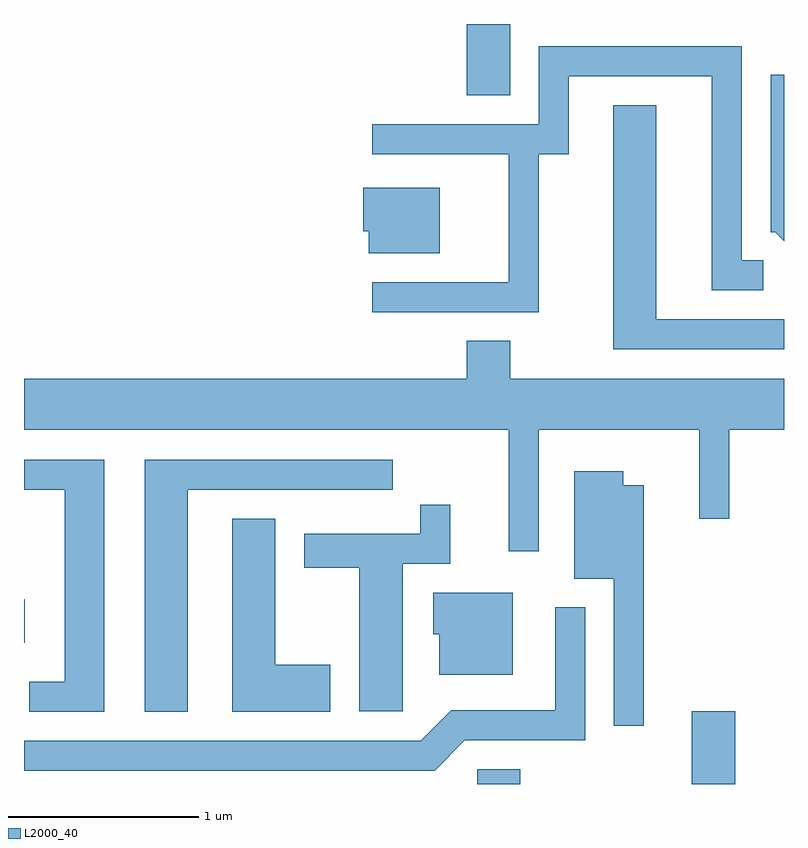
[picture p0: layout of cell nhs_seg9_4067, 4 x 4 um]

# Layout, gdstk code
import gdstk
lib = gdstk.Library(unit=1e-6, precision=1e-09)
def R(c, l, rs):  # rectangles x0, y0, x1, y1
    for r in rs: c.add(gdstk.rectangle(r[:2], r[2:], *l))
def P(c, l, *ps):  # polygons
    for p in ps: c.add(gdstk.Polygon(p, *l))
L2000_40 = (2000, 40)

nhs_seg9_4067 = lib.new_cell('nhs_seg9_4067')
R(nhs_seg9_4067, L2000_40, [(307.996,1954.432,308.224,1954.509), (309.126,1954.432,309.354,1954.814), (305.611,1955.176,305.614,1955.404), (307.941,1958.056,308.169,1958.432)])
P(nhs_seg9_4067, L2000_40, [(308.319,1957.746),(308.479,1957.746),(308.479,1958.156),(309.231,1958.156),(309.231,1957.031),(309.503,1957.031),(309.503,1957.189),(309.389,1957.189),(309.389,1958.314),(308.321,1958.314),(308.321,1957.904),(307.443,1957.904),(307.443,1957.746),(308.161,1957.746),(308.161,1957.074),(307.443,1957.074),(307.443,1956.916),(308.319,1956.916)],
  [(309.611,1958.164),(309.541,1958.164),(309.541,1957.336),(309.564,1957.336),(309.611,1957.289)],
  [(309.611,1956.879),(308.939,1956.879),(308.939,1958.004),(308.711,1958.004),(308.711,1956.721),(309.611,1956.721)],
  [(307.799,1957.569),(307.396,1957.569),(307.396,1957.341),(307.426,1957.341),(307.426,1957.226),(307.799,1957.226)],
  [(308.319,1956.296),(309.166,1956.296),(309.166,1955.828),(309.324,1955.828),(309.324,1956.296),(309.611,1956.296),(309.611,1956.564),(308.169,1956.564),(308.169,1956.764),(307.941,1956.764),(307.941,1956.564),(305.611,1956.564),(305.611,1956.296),(308.161,1956.296),(308.161,1955.658),(308.319,1955.658)],
  [(306.474,1955.981),(307.553,1955.981),(307.553,1956.139),(306.246,1956.139),(306.246,1954.811),(306.474,1954.811)],
  [(306.034,1956.139),(305.611,1956.139),(305.611,1955.981),(305.826,1955.981),(305.826,1954.969),(305.638,1954.969),(305.638,1954.811),(306.034,1954.811)],
  [(308.874,1956.004),(308.764,1956.004),(308.764,1956.079),(308.506,1956.079),(308.506,1955.511),(308.716,1955.511),(308.716,1954.738),(308.874,1954.738)],
  [(307.604,1955.591),(307.854,1955.591),(307.854,1955.903),(307.696,1955.903),(307.696,1955.749),(307.086,1955.749),(307.086,1955.571),(307.376,1955.571),(307.376,1954.816),(307.604,1954.816)],
  [(307.224,1955.059),(306.934,1955.059),(306.934,1955.829),(306.706,1955.829),(306.706,1954.811),(307.224,1954.811)],
  [(308.184,1955.439),(307.766,1955.439),(307.766,1955.221),(307.796,1955.221),(307.796,1955.006),(308.184,1955.006)],
  [(307.932,1954.661),(308.564,1954.661),(308.564,1955.363),(308.406,1955.363),(308.406,1954.819),(307.859,1954.819),(307.699,1954.659),(305.611,1954.659),(305.611,1954.501),(307.772,1954.501)])

lib.write_gds('nhs_seg9_4067.gds')
